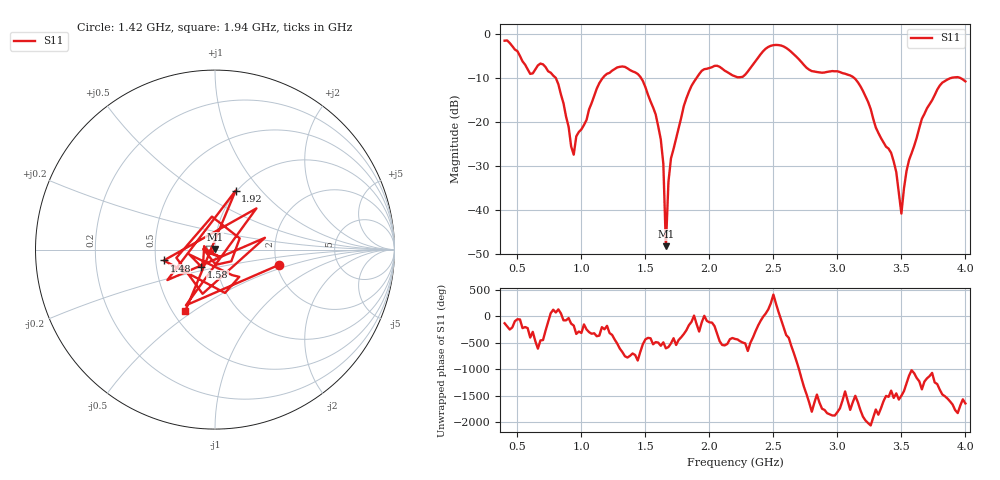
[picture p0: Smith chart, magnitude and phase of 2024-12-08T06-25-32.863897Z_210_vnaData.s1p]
!Created with skrf (http://scikit-rf.org).
# Hz S RI R 50.0
!freq ReS11 ImS11
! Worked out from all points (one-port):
!   181 points, 400 MHz to 4 GHz, reference 50 ohm
!   lowest |S11| = -48.2 dB at 1.66 GHz (marker M1), VSWR 1.01, Z = 49.8 + j0.354 ohm
!   |S11| at or under -10 dB: 799.4 MHz to 1.168 GHz (368.6 MHz wide, 37.5 % of centre); 1.465 GHz to 1.901 GHz (435.6 MHz wide, 25.9 % of centre); 3.13 GHz to 3.892 GHz (762.8 MHz wide, 21.7 % of centre) (the widest 3 of 4)
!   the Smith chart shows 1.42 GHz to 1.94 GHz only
!   S11 on the Smith chart (normalised r, x): 1.42 GHz: 2.05, -0.41; 1.48 GHz: 0.55, -0.07; 1.58 GHz: 0.84, -0.16; 1.92 GHz: 0.99, +0.74; 1.94 GHz: 0.58, -0.46
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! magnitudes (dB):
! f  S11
! 400 MHz  -1.6
! 600 MHz  -9.1
! 680 MHz  -6.8
! 800 MHz  -10.0
! 860 MHz  -15.8
! 940 MHz  -27.4
! 960 MHz  -23.3
! 1.14 GHz  -11.2
! 1.3 GHz  -7.5
! 1.42 GHz  -8.8
! 1.48 GHz  -10.7
! 1.58 GHz  -18.3
! 1.64 GHz  -29.5
! 1.66 GHz  -48.2
! 1.68 GHz  -33.6
! 1.76 GHz  -21.4
! 1.92 GHz  -9.2
! 1.94 GHz  -8.4
! 2.2 GHz  -9.7
! 2.48 GHz  -2.7
! 2.66 GHz  -4.7
! 3.1 GHz  -9.5
! 3.42 GHz  -27.1
! 3.46 GHz  -31.4
! 3.5 GHz  -40.8
! 3.56 GHz  -28.6
! 3.8 GHz  -11.7
! 4 GHz  -10.8
